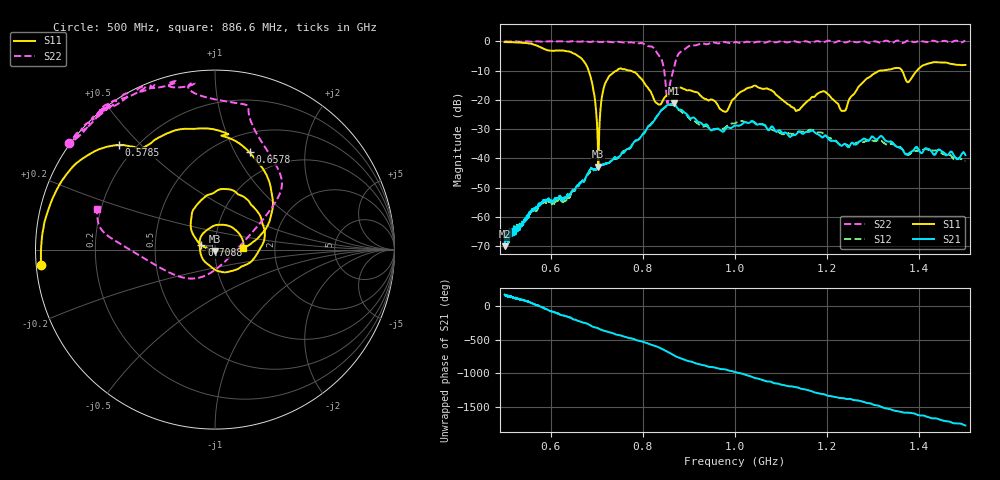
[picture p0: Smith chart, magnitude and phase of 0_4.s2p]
!Agilent Technologies,E8364B,US42250235,A.06.04.32
!Agilent E8364B: A.06.04.32
!Date: Thursday, October 01, 2020 15:38:52
!Correction: S11(Full 2 Port(1,2)) S21(Full 2 Port(1,2)) S12(Full 2 Port(1,2)) S22(Full 2 Port(1,2))
!S2P File: Measurements: S11, S21, S12, S22:
# Hz S  dB  R 50
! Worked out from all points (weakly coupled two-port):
!   2650 points, 500 MHz to 1.5 GHz, reference 50 ohm
!   highest |S21| = -21.16 dB at 866.6 MHz (marker M1); lowest = -70.0 dB at 500.8 MHz (marker M2)
!   lowest |S11| = -42.8 dB at 703.5 MHz (marker M3), VSWR 1.01, Z = 49.8 - j0.692 ohm
!   |S11| at or under -10 dB: 682.4 MHz to 743.3 MHz (60.91 MHz wide, 8.54 % of centre); 773.5 MHz to 1.314 GHz (540.4 MHz wide, 51.8 % of centre); 1.362 GHz to 1.395 GHz (32.14 MHz wide, 2.33 % of centre)
!   |S22| runs from -21.2 to 0.3 dB; largest |S21 - S12| = 0.019
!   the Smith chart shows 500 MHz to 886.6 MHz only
!   S11 on the Smith chart (normalised r, x): 500 MHz: 0.01, -0.05; 578.5 MHz: 0.14, +0.43; 657.8 MHz: 0.71, +1.15; 708.8 MHz: 0.86, +0.04; 886.6 MHz: 1.37, +0.02
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5e8  -0.24 -174.8  -67.28 163.2  -67.68 161.5  0.04 143.8
5.00755e8  -0.24 -175.2  -69.95 150.3  -67.63 165.4  0.04 144.0
5.785202e8  -2.02 132.7  -55.64 -15.1  -55.77 -24.1  -0.08 132.8
6.577954e8  -4.81 70.4  -49.14 140.0  -49.61 132.8  -0.08 128.7
6.668554e8  -5.85 56.4  -47.97 118.8  -47.73 108.9  -0.03 123.5
6.879955e8  -13.01 12.2  -43.31 61.4  -43.98 48.6  -0.15 120.0
7.03473e8  -42.84 -105.4  -42.30 22.5  -42.44 7.9  -0.13 121.2
7.08758e8  -21.99 161.9  -42.14 6.2  -42.34 -7.2  -0.21 117.0
7.204606e8  -13.62 130.0  -41.63 -20.5  -41.81 -33.5  -0.05 114.2
7.506606e8  -9.26 77.9  -39.08 -77.8  -38.83 -88.9  -0.20 111.6
7.861457e8  -10.97 12.7  -33.75 -149.2  -33.88 -160.8  -0.69 101.5
8.337108e8  -21.51 -153.3  -24.96 106.9  -24.89 93.1  -4.57 56.1
8.537184e8  -18.21 103.8  -21.71 39.5  -21.93 27.4  -21.16 -54.7
8.665534e8  -16.33 60.2  -21.16 -8.0  -21.76 -19.5  -9.47 -164.4
8.86561e8  -16.08 2.6  -23.74 -67.9  -24.40 -77.2  -3.15 161.1
9.767837e8  -23.95 104.9  -30.54 142.0  -29.57 140.1  -0.22 129.0
1.000189e9  -19.21 -17.7  -28.78 101.7  -27.96 97.6  -0.26 121.4
1.066251e9  -16.10 -175.1  -28.87 -31.9  -28.87 -36.7  -0.39 108.1
1.166667e9  -19.07 -67.5  -30.46 177.3  -30.19 169.7  -0.41 102.5
1.236127e9  -23.74 -114.7  -35.13 75.4  -35.05 61.7  -0.30 97.5
1.333522e9  -9.66 -154.6  -34.25 -80.6  -35.21 -88.6  -0.00 95.9
1.5e9  -8.06 139.5  -38.84 34.5  -40.73 35.4  0.26 69.9
